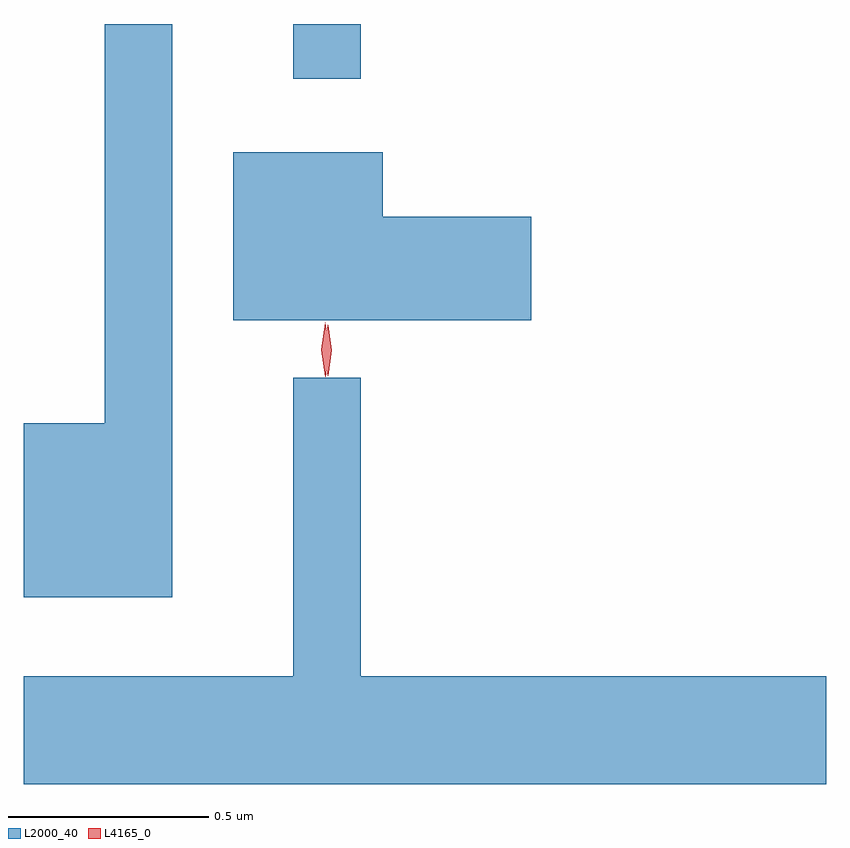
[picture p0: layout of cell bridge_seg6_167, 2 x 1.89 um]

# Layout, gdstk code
import gdstk
lib = gdstk.Library(unit=1e-6, precision=1e-09)
def R(c, l, rs):  # rectangles x0, y0, x1, y1
    for r in rs: c.add(gdstk.rectangle(r[:2], r[2:], *l))
def P(c, l, *ps):  # polygons
    for p in ps: c.add(gdstk.Polygon(p, *l))
L2000_40 = (2000, 40)
L4165_0 = (4165, 0)

bridge_seg6_167 = lib.new_cell('bridge_seg6_167')
R(bridge_seg6_167, L2000_40, [(1067.011,1569.553,1067.179,1569.689)])
P(bridge_seg6_167, L2000_40, [(1066.709,1569.689),(1066.541,1569.689),(1066.541,1568.694),(1066.339,1568.694),(1066.339,1568.261),(1066.709,1568.261)],
  [(1067.604,1569.209),(1067.234,1569.209),(1067.234,1569.369),(1066.861,1569.369),(1066.861,1568.951),(1067.604,1568.951)],
  [(1068.339,1568.064),(1067.179,1568.064),(1067.179,1568.808),(1067.011,1568.808),(1067.011,1568.064),(1066.339,1568.064),(1066.339,1567.796),(1068.339,1567.796)])
P(bridge_seg6_167, L4165_0, [(1067.097,1568.813),(1067.097,1568.813),(1067.087,1568.876),(1067.097,1568.939),(1067.097,1568.94),(1067.098,1568.939),(1067.107,1568.876),(1067.098,1568.813)],
  [(1067.091,1568.81),(1067.091,1568.81),(1067.081,1568.878),(1067.09,1568.945),(1067.09,1568.946),(1067.091,1568.945),(1067.101,1568.878),(1067.092,1568.81)])

lib.write_gds('bridge_seg6_167.gds')
